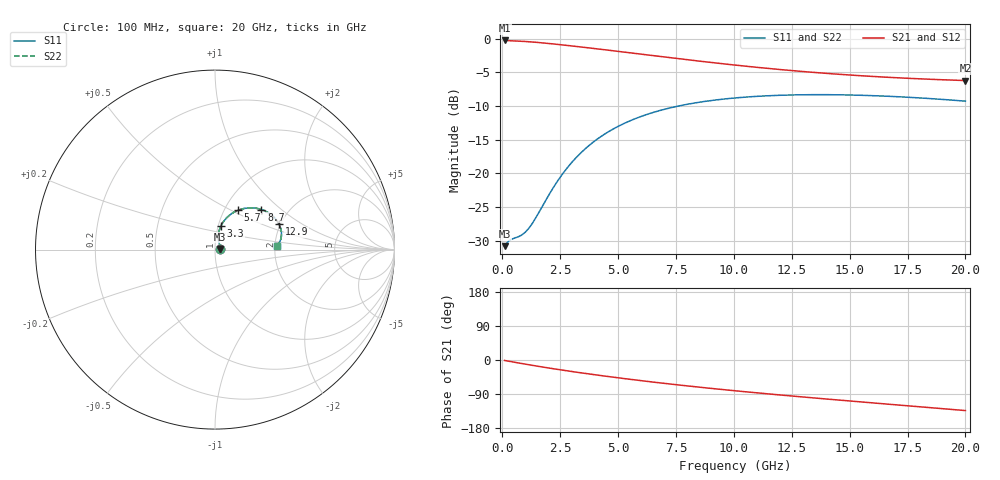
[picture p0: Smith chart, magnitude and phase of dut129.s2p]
! Created with skrf 1.9.0 (http://scikit-rf.org).
# GHz S RI R 50.0
!freq ReS11 ImS11 ReS21 ImS21 ReS12 ImS12 ReS22 ImS22
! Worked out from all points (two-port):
!   200 points, 100 MHz to 20 GHz, reference 50 ohm
!   highest |S21| = -0.25 dB at 100 MHz (marker M1); lowest = -6.2 dB at 20 GHz (marker M2)
!   |S21| within 3 dB of the highest: start of sweep to 8.34 GHz
!   lowest |S11| = -30.8 dB at 100 MHz (marker M3), VSWR 1.06, Z = 52.9 + j0.436 ohm
!   |S11| at or under -10 dB: start of sweep to 7.594 GHz
!   |S22| runs from -30.8 to -8.3 dB; largest |S21 - S12| = 2.8e-15
!   S11 on the Smith chart (normalised r, x): 100 MHz: 1.06, +0.01; 3.3 GHz: 1.03, +0.28; 5.7 GHz: 1.16, +0.54; 8.7 GHz: 1.47, +0.74; 12.9 GHz: 1.96, +0.65; 20 GHz: 2.04, +0.10
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0.1  0.0285 0.00412  0.9711 -0.0208  0.9711 -0.0208  0.0285 0.00412
0.3  0.0304 0.00897  0.966 -0.0587  0.966 -0.0587  0.0304 0.00897
0.8  0.0282 0.0201  0.9473 -0.148  0.9473 -0.148  0.0282 0.0201
1.1  0.0251 0.0289  0.9306 -0.1987  0.9306 -0.1987  0.0251 0.0289
1.4  0.0221 0.0397  0.9101 -0.2465  0.9101 -0.2465  0.0221 0.0397
2  0.0185 0.0662  0.8607 -0.3324  0.8607 -0.3324  0.0185 0.0662
2.4  0.0195 0.0863  0.8233 -0.3824  0.8233 -0.3824  0.0195 0.0863
2.8  0.0237 0.1072  0.7836 -0.4269  0.7836 -0.4269  0.0237 0.1072
3.3  0.0336 0.1329  0.7319 -0.4755  0.7319 -0.4755  0.0336 0.1329
3.5  0.0388 0.1428  0.7108 -0.4928  0.7108 -0.4928  0.0388 0.1428
4  0.0548 0.1658  0.6573 -0.5314  0.6573 -0.5314  0.0548 0.1658
4.5  0.074 0.1856  0.6035 -0.5635  0.6035 -0.5635  0.074 0.1856
5.1  0.1 0.2048  0.5393 -0.5942  0.5393 -0.5942  0.1 0.2048
5.7  0.1279 0.2188  0.4764 -0.6173  0.4764 -0.6173  0.1279 0.2188
6.8  0.1796 0.2316  0.3662 -0.6424  0.3662 -0.6424  0.1796 0.2316
8.7  0.2587 0.2232  0.1982 -0.6467  0.1982 -0.6467  0.2587 0.2232
10.1  0.3034 0.2013  0.0939 -0.6292  0.0939 -0.6292  0.3034 0.2013
11.5  0.3356 0.1728  0.00476 -0.6016  0.00476 -0.6016  0.3356 0.1728
12.9  0.3565 0.1419  -0.0716 -0.568  -0.0716 -0.568  0.3565 0.1419
13.4  0.3615 0.1308  -0.0963 -0.5551  -0.0963 -0.5551  0.3615 0.1308
16.7  0.3682 0.0649  -0.2329 -0.4614  -0.2329 -0.4614  0.3682 0.0649
20  0.3434 0.0217  -0.3364 -0.3554  -0.3364 -0.3554  0.3434 0.0217
